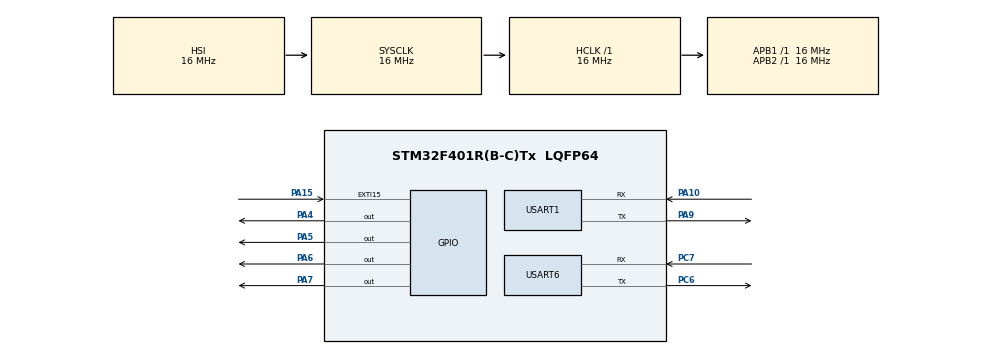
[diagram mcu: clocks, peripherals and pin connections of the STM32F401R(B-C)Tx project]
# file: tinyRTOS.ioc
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Mcu.Family=STM32F4
Mcu.Name=STM32F401R(B-C)Tx
Mcu.Package=LQFP64
NVIC.PriorityGroup=NVIC_PRIORITYGROUP_4
PA10.Mode=Asynchronous
PA10.Signal=USART1_RX
PA15.Signal=GPXTI15
PA4.Signal=GPIO_Output
PA5.Signal=GPIO_Output
PA6.Signal=GPIO_Output
PA7.Signal=GPIO_Output
PA9.Mode=Asynchronous
PA9.Signal=USART1_TX
PC6.Mode=Asynchronous
PC6.Signal=USART6_TX
PC7.Mode=Asynchronous
PC7.Signal=USART6_RX
ProjectManager.HeapSize=0x200
ProjectManager.StackSize=0x400
ProjectManager.TargetToolchain=CMake
RCC.AHBFreq_Value=16000000
RCC.APB1Freq_Value=16000000
RCC.APB2Freq_Value=16000000
RCC.CortexFreq_Value=16000000
RCC.HSE_VALUE=25000000
RCC.HSI_VALUE=16000000
RCC.LSE_VALUE=32768
RCC.SYSCLKFreq_VALUE=16000000
RCC.VCOOutputFreq_Value=192000000
USART1.VirtualMode=VM_ASYNC
USART6.VirtualMode=VM_ASYNC
board=custom

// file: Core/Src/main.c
/* USER CODE BEGIN Header */
/**
  ******************************************************************************
  * @file           : main.c
  * @brief          : Main program body
  ******************************************************************************
  * @attention
  *
  * Copyright (c) 2026 STMicroelectronics.
  * All rights reserved.
  *
  * This software is licensed under terms that can be found in the LICENSE file
  * in the root directory of this software component.
  * If no LICENSE file comes with this software, it is provided AS-IS.
  *
  ******************************************************************************
  */
/* USER CODE END Header */
#include "main.h"

/* USER CODE BEGIN Includes */
#include "kernel.h"
#include "stm32f4xx_hal_gpio.h"
#include "user_tasks.h"
#include <stdio.h>
#include <string.h>
/* USER CODE END Includes */

UART_HandleTypeDef huart1;
UART_HandleTypeDef huart6;

/* USER CODE BEGIN PV */
TCB* taskHandler3;
static uint32_t last_press_tick = 0;
static uint8_t uart_rx_byte = 0;
static uint8_t uart_cmd_index = 0;

/* USER CODE END PV */

void SystemClock_Config(void);
static void MX_GPIO_Init(void);
static void MX_USART1_UART_Init(void);
static void MX_USART6_UART_Init(void);

/* USER CODE BEGIN 0 */
int __io_putchar(int ch)
{
    HAL_UART_Transmit(&huart1, (uint8_t*)&ch, 1, HAL_MAX_DELAY);
    return ch;
}
/* USER CODE END 0 */

int main(void)
{

  /* MCU Configuration--------------------------------------------------------*/

  /* Reset of all peripherals, Initializes the Flash interface and the Systick. */
  HAL_Init();

  /* USER CODE BEGIN Init */
  // printf("Finally done with hal init\n");
  /* USER CODE END Init */

  /* Configure the system clock */
  SystemClock_Config();

  /* Initialize all configured peripherals */
  MX_GPIO_Init();
  MX_USART1_UART_Init();
  MX_USART6_UART_Init();
  /* USER CODE BEGIN 2 */

  HAL_NVIC_DisableIRQ(SysTick_IRQn); // we only run it after starting our scheduler.
  kernel_init();
  NVIC_SetPriority(PendSV_IRQn, 0xFF); // PendSV gets lowest possible priority

  // Create a few tasks (minimum 2).
  // After creating the tasks, must run scheduler_start().

  createTask("medium priority", task1, PRIORITY_MEDIUM, TASK_READY);
  createTask("low priority", task2, PRIORITY_LOW, TASK_READY);
  createTask("uart shell", uart_command_task, PRIORITY_MEDIUM, TASK_READY);
  taskHandler3 = createTask("high priority", task3, PRIORITY_HIGH, TASK_BLOCKED);

  // Enable interrupt for pin 15 -- push button
  HAL_NVIC_EnableIRQ(EXTI15_10_IRQn);

  // Enable  SYSTICK INTERRUPT.
  HAL_NVIC_EnableIRQ(SysTick_IRQn);

  // LED indicating scheduler start
  HAL_GPIO_WritePin(GPIOA, GPIO_PIN_7, GPIO_PIN_SET);

  start_scheduler();

  /* USER CODE END 2 */

  /* Infinite loop */
  while (1)
  {

  }
}

void SystemClock_Config(void)
{
  RCC_OscInitTypeDef RCC_OscInitStruct = {0};
  RCC_ClkInitTypeDef RCC_ClkInitStruct = {0};

  /** Configure the main internal regulator output voltage
  */
  __HAL_RCC_PWR_CLK_ENABLE();
  __HAL_PWR_VOLTAGESCALING_CONFIG(PWR_REGULATOR_VOLTAGE_SCALE2);

  /** Initializes the RCC Oscillators according to the specified parameters
  * in the RCC_OscInitTypeDef structure.
  */
  RCC_OscInitStruct.OscillatorType = RCC_OSCILLATORTYPE_HSI;
  RCC_OscInitStruct.HSIState = RCC_HSI_ON;
  RCC_OscInitStruct.HSICalibrationValue = RCC_HSICALIBRATION_DEFAULT;
  RCC_OscInitStruct.PLL.PLLState = RCC_PLL_NONE;
  if (HAL_RCC_OscConfig(&RCC_OscInitStruct) != HAL_OK)
  {
    Error_Handler();
  }

  /** Initializes the CPU, AHB and APB buses clocks
  */
  RCC_ClkInitStruct.ClockType = RCC_CLOCKTYPE_HCLK|RCC_CLOCKTYPE_SYSCLK
                              |RCC_CLOCKTYPE_PCLK1|RCC_CLOCKTYPE_PCLK2;
  RCC_ClkInitStruct.SYSCLKSource = RCC_SYSCLKSOURCE_HSI;
  RCC_ClkInitStruct.AHBCLKDivider = RCC_SYSCLK_DIV1;
  RCC_ClkInitStruct.APB1CLKDivider = RCC_HCLK_DIV1;
  RCC_ClkInitStruct.APB2CLKDivider = RCC_HCLK_DIV1;

  if (HAL_RCC_ClockConfig(&RCC_ClkInitStruct, FLASH_LATENCY_0) != HAL_OK)
  {
    Error_Handler();
  }
}

static void MX_USART1_UART_Init(void)
{

  huart1.Instance = USART1;
  huart1.Init.BaudRate = 115200;
  huart1.Init.WordLength = UART_WORDLENGTH_8B;
  huart1.Init.StopBits = UART_STOPBITS_1;
  huart1.Init.Parity = UART_PARITY_NONE;
  huart1.Init.Mode = UART_MODE_TX_RX;
  huart1.Init.HwFlowCtl = UART_HWCONTROL_NONE;
  huart1.Init.OverSampling = UART_OVERSAMPLING_16;
  if (HAL_UART_Init(&huart1) != HAL_OK)
  {
    Error_Handler();
  }

}

static void MX_USART6_UART_Init(void)
{

  huart6.Instance = USART6;
  huart6.Init.BaudRate = 115200;
  huart6.Init.WordLength = UART_WORDLENGTH_8B;
  huart6.Init.StopBits = UART_STOPBITS_1;
  huart6.Init.Parity = UART_PARITY_NONE;
  huart6.Init.Mode = UART_MODE_TX_RX;
  huart6.Init.HwFlowCtl = UART_HWCONTROL_NONE;
  huart6.Init.OverSampling = UART_OVERSAMPLING_16;
  if (HAL_UART_Init(&huart6) != HAL_OK)
  {
    Error_Handler();
  }

}

static void MX_GPIO_Init(void)
{
  GPIO_InitTypeDef GPIO_InitStruct = {0};

  /* GPIO Ports Clock Enable */
  __HAL_RCC_GPIOA_CLK_ENABLE();
  __HAL_RCC_GPIOC_CLK_ENABLE();

  /*Configure GPIO pin Output Level */
  HAL_GPIO_WritePin(GPIOA, GPIO_PIN_4|GPIO_PIN_5|GPIO_PIN_6|GPIO_PIN_7, GPIO_PIN_RESET);

  /*Configure GPIO pins : PA4 PA5 PA6 PA7 */
  GPIO_InitStruct.Pin = GPIO_PIN_4|GPIO_PIN_5|GPIO_PIN_6|GPIO_PIN_7;
  GPIO_InitStruct.Mode = GPIO_MODE_OUTPUT_PP;
  GPIO_InitStruct.Pull = GPIO_NOPULL;
  GPIO_InitStruct.Speed = GPIO_SPEED_FREQ_LOW;
  HAL_GPIO_Init(GPIOA, &GPIO_InitStruct);

  /*Configure GPIO pin : PA15 */
  GPIO_InitStruct.Pin = GPIO_PIN_15;
  GPIO_InitStruct.Mode = GPIO_MODE_IT_RISING;
  GPIO_InitStruct.Pull = GPIO_NOPULL;
  HAL_GPIO_Init(GPIOA, &GPIO_InitStruct);

}

/* USER CODE BEGIN 4 */

// Handling the interrupt at PA15
void EXTI15_10_IRQHandler(void) {
  HAL_GPIO_EXTI_IRQHandler(GPIO_PIN_15);
}

void HAL_GPIO_EXTI_Callback(uint16_t GPIO_Pin) {
  if (GPIO_Pin == GPIO_PIN_15) {
    uint32_t now = HAL_GetTick();

    if ((now - last_press_tick) < 50) return; // Reject bounce
    last_press_tick = now;

    if (rtos_wake_task_from_isr(taskHandler3)) {
      rtos_request_context_switch();
    }
  }
}

void HAL_UART_RxCpltCallback(UART_HandleTypeDef *huart)
{
  if (huart->Instance != USART1) {
    return;
  }

  uint8_t ch = uart_rx_byte;

  if (ch == '\r' || ch == '\n') {
    if (uart_cmd_index > 0) {
      uart_cmd_buffer[uart_cmd_index] = '\0';
      uart_cmd_ready = 1;
      uart_cmd_index = 0;
    }
  }
  else {
    if (uart_cmd_index < (sizeof(uart_cmd_buffer) - 1)) {
      uart_cmd_buffer[uart_cmd_index++] = (char)ch;
    }
  }

  HAL_UART_Receive_IT(huart, &uart_rx_byte, 1);
}

/* USER CODE END 4 */

void Error_Handler(void)
{
  __disable_irq();
  while (1)
  {
  }
}
